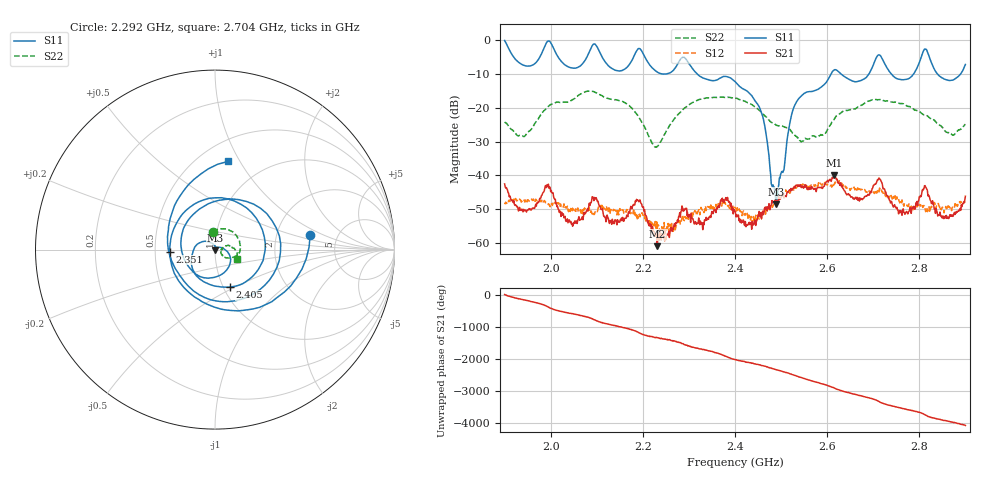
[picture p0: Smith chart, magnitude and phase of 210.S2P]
! C:\Users\rflab\Downloads\Lab5_KD_ZW\210.S2P
! Touchstone 1.1 file saved by VNA.EXE V1.65 (www.ke5fx.com/gpib/readme.htm)
! 11/12/2024 12:20:51 AM
!  Source: HEWLETT PACKARD,8753D,0,6.14
!  Min freq: 1.900000E+009 Hz
!  Max freq: 2.900000E+009 Hz
!  Points: 801
!  Params: S11 S21 S12 S22
# GHZ S RI R 50
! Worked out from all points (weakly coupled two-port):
!   801 points, 1.9 GHz to 2.9 GHz, reference 50 ohm
!   highest |S21| = -39.97 dB at 2.615 GHz (marker M1); lowest = -61.0 dB at 2.231 GHz (marker M2)
!   lowest |S11| = -48.7 dB at 2.489 GHz (marker M3), VSWR 1.01, Z = 50 - j0.368 ohm
!   |S11| at or under -10 dB: 2.318 GHz to 2.608 GHz (290.2 MHz wide, 11.8 % of centre); 2.63 GHz to 2.691 GHz (60.26 MHz wide, 2.26 % of centre); 2.84 GHz to 2.889 GHz (49.96 MHz wide, 1.74 % of centre) (the widest 3 of 5)
!   |S22| runs from -31.7 to -15.1 dB; largest |S21 - S12| = 0.0039
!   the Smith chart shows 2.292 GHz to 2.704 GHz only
!   S11 on the Smith chart (normalised r, x): 2.292 GHz: 3.13, +0.73; 2.351 GHz: 0.60, -0.01; 2.405 GHz: 1.07, -0.47; 2.704 GHz: 0.69, +0.90
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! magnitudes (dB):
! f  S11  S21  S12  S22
! 1.9 GHz  0.0  -42.6  -48.2  -24.3
! 1.942 GHz  -7.5  -50.5  -47.3  -28.5
! 1.994 GHz  -0.3  -43.4  -48.2  -19.7
! 2.067 GHz  -7.2  -52.9  -50.9  -15.8
! 2.189 GHz  -2.7  -47.3  -52.1  -22.2
! 2.231 GHz  -9.4  -61.0  -55.8  -31.4
! 2.234 GHz  -9.6  -57.8  -54.7  -31.1
! 2.292 GHz  -5.4  -49.8  -52.3  -19.9
! 2.351 GHz  -12.0  -51.2  -48.9  -17.0
! 2.4 GHz  -12.2  -50.6  -49.5  -17.1
! 2.405 GHz  -13.0  -52.2  -49.6  -17.3
! 2.456 GHz  -21.0  -51.1  -51.7  -21.2
! 2.489 GHz  -48.7  -47.5  -47.1  -25.1
! 2.527 GHz  -19.9  -43.9  -44.4  -27.9
! 2.567 GHz  -15.1  -43.6  -42.8  -28.3
! 2.615 GHz  -8.8  -40.0  -42.6  -23.5
! 2.704 GHz  -6.1  -42.6  -44.9  -17.5
! 2.734 GHz  -9.0  -46.7  -46.3  -18.0
! 2.772 GHz  -11.5  -50.7  -48.7  -19.4
! 2.812 GHz  -2.5  -43.1  -49.9  -22.1
! 2.859 GHz  -11.7  -51.9  -49.9  -27.3
! 2.9 GHz  -7.2  -46.2  -47.8  -24.9
